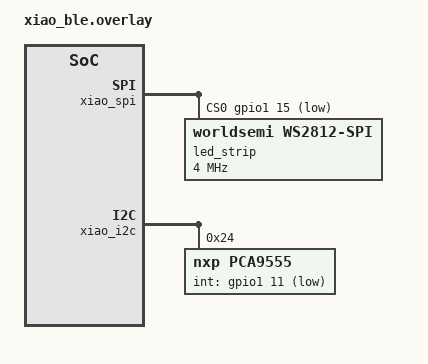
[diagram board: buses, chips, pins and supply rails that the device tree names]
/*
 * Copyright (c) 2026 J. Korinth <jnsk@tuta.io>
 *
 * SPDX-License-Identifier: GPL-3.0-or-later
 */
#include <zephyr/dt-bindings/led/led.h>

/ {
	chosen {
		zmk,underglow = &led_strip;
	};
	aliases {
		led-strip = &led_strip;
	};
};

&xiao_spi {
	status = "okay";
	cs-gpios = <&gpio1 15 GPIO_ACTIVE_LOW>;
	led_strip: ws2812@0 {
		compatible = "worldsemi,ws2812-spi";
		reg = <0>;
		spi-max-frequency = <4000000>;
		chain-length = <7>;
		color-mapping = <LED_COLOR_ID_GREEN LED_COLOR_ID_RED LED_COLOR_ID_BLUE>;
		spi-one-frame = <0x70>;
		spi-zero-frame = <0x40>;
	};
};

&xiao_i2c {
	status = "okay";
	pca9555: pca9555@24 {
		compatible = "nxp,pca9555";
		gpio-controller;
		reg = <0x24>;
		int-gpios = <&gpio1 11 GPIO_ACTIVE_LOW>;
		ngpios = <16>;
		#gpio-cells = <2>;
	};
};
